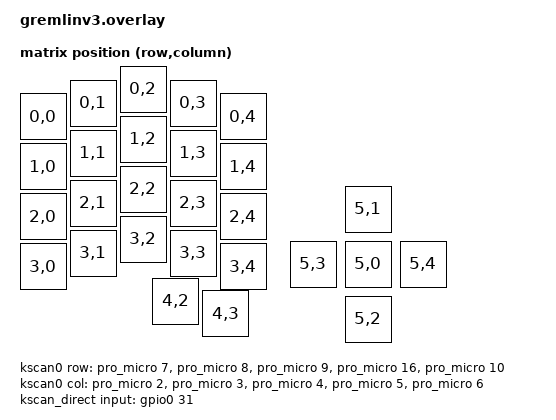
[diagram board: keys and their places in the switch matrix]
#include <dt-bindings/zmk/matrix_transform.h>
#include <dt-bindings/analog-stick/modes.h>
#include <dt-bindings/adc/adc.h>
#include <dt-bindings/pinctrl/nrf-pinctrl.h>
#include <physical_layouts.dtsi>

/*
 * Nordic SAADC CH[n].PSELP register values:
 * In nRF52840 SAADC hardware and nrfx HAL (nrf_saadc.h):
 *   0 = NC (Not Connected / Input Disabled)
 *   1 = AIN0 (P0.02 / Header Pin 18 / Silk 19 -> J2 Pin 1 JOY_X)
 *   2 = AIN1 (P0.03)
 *   3 = AIN2 (P0.04)
 *   4 = AIN3 (P0.05)
 *   5 = AIN4 (P0.28)
 *   6 = AIN5 (P0.29 / Header Pin 19 / Silk 20 -> J2 Pin 4 JOY_Y)
 *   7 = AIN6 (P0.30)
 *   8 = AIN7 (P0.31 / Header Pin 20 / Silk 21 -> J2 Pin 3 JOY_BTN)
 * Zephyr's adc_nrfx_saadc.c assigns positive_inputs directly to PSELP.
 */
#undef NRF_SAADC_AIN0
#define NRF_SAADC_AIN0 1
#undef NRF_SAADC_AIN5
#define NRF_SAADC_AIN5 6

/ {
    chosen {
        zmk,kscan = &kscan_composite;
        zmk,physical-layout = &physical_layout0;
        zephyr,display = &nice_view;
    };

    /* -------------------------------------------------------------------------
     * 1. KEY MATRIX (5 Cols x 5 Rows for Keys S1..S22)
     * Hardware: Diodes point from Col/Switch (Anode) to Row (Cathode)
     * Driving Cols HIGH and reading Rows with internal Pull-Down (col2row)
     * ------------------------------------------------------------------------- */
    kscan0: kscan_0 {
        compatible = "zmk,kscan-gpio-matrix";
        diode-direction = "col2row";
        wakeup-source;

        col-gpios
            = <&pro_micro 2 GPIO_ACTIVE_HIGH>  /* Col 0: P0.17 (Pin 5) */
            , <&pro_micro 3 GPIO_ACTIVE_HIGH>  /* Col 1: P0.20 (Pin 6) */
            , <&pro_micro 4 GPIO_ACTIVE_HIGH>  /* Col 2: P0.22 (Header Pin 7 / Silk 4 - native PCB routing) */
            , <&pro_micro 5 GPIO_ACTIVE_HIGH>  /* Col 3: P0.24 (Pin 8) */
            , <&pro_micro 6 GPIO_ACTIVE_HIGH>  /* Col 4: P1.00 (Pin 9) */
            ;

        row-gpios
            = <&pro_micro 7  (GPIO_ACTIVE_HIGH | GPIO_PULL_DOWN)> /* Row 0: P0.11 (Pin 10) */
            , <&pro_micro 8  (GPIO_ACTIVE_HIGH | GPIO_PULL_DOWN)> /* Row 1: P1.04 (Pin 11) */
            , <&pro_micro 9  (GPIO_ACTIVE_HIGH | GPIO_PULL_DOWN)> /* Row 2: P1.06 (Pin 12) */
            , <&pro_micro 16 (GPIO_ACTIVE_HIGH | GPIO_PULL_DOWN)> /* Row 3: P0.10 (Pin 14) */
            , <&pro_micro 10 (GPIO_ACTIVE_HIGH | GPIO_PULL_DOWN)> /* Row 4: P0.09 (Pin 13) */
            ;
    };

    /* -------------------------------------------------------------------------
     * 2. DIRECT GPIO BUTTON (Joy-Con Stick Push / L3 Click on J2 Pin 3)
     * Active-Low with internal pull-up (Joy-Con push switch connects to GND on J2 Pin 2)
     * ------------------------------------------------------------------------- */
    kscan_direct: kscan_direct {
        compatible = "zmk,kscan-gpio-direct";
        wakeup-source;
        input-gpios = <&gpio0 31 (GPIO_ACTIVE_LOW | GPIO_PULL_UP)>; /* P0.31 / Header Pin 20 / Silk 21 (J2 Pin 3) */
    };

    /* Composite kscan combining matrix keys and stick button */
    kscan_composite: kscan_composite {
        compatible = "zmk,kscan-composite";
        columns = <5>;
        rows = <6>;

        matrix {
            kscan = <&kscan0>;
        };

        direct {
            kscan = <&kscan_direct>;
            row-offset = <5>;
        };
    };

    /* -------------------------------------------------------------------------
     * 3. MATRIX TRANSFORM (27 Positions: S1..S22, L3 click, Stick Directions)
     * ------------------------------------------------------------------------- */
    default_transform: keymap_transform_0 {
        compatible = "zmk,matrix-transform";
        columns = <5>;
        rows = <6>;
        map = <
            RC(0,0) RC(0,1) RC(0,2) RC(0,3) RC(0,4) /* S1 - S5   (Row 0) */
            RC(1,0) RC(1,1) RC(1,2) RC(1,3) RC(1,4) /* S6 - S10  (Row 1) */
            RC(2,0) RC(2,1) RC(2,2) RC(2,3) RC(2,4) /* S11 - S15 (Row 2) */
            RC(3,0) RC(3,1) RC(3,2) RC(3,3) RC(3,4) /* S16 - S20 (Row 3) */
                    RC(4,2) RC(4,3)                 /* S21, S22   (Thumb) */
            RC(5,0)                                 /* Joy-Con Stick Click (L3) */
            RC(5,1) RC(5,2) RC(5,3) RC(5,4)         /* Virtual: Stick Up, Down, Left, Right */
        >;
    };

    /* -------------------------------------------------------------------------
     * 4. PHYSICAL LAYOUT FOR ZMK STUDIO (Live GUI key remapping)
     * ------------------------------------------------------------------------- */
    physical_layout0: physical_layout_0 {
        compatible = "zmk,physical-layout";
        display-name = "Gremlin v3";
        kscan = <&kscan_composite>;
        transform = <&default_transform>;
        keys
            = <&key_physical_attrs 100 100   0  55 0 0 0>  /* S1  */
            , <&key_physical_attrs 100 100 100  28 0 0 0>  /* S2  */
            , <&key_physical_attrs 100 100 200   0 0 0 0>  /* S3  */
            , <&key_physical_attrs 100 100 300  28 0 0 0>  /* S4  */
            , <&key_physical_attrs 100 100 400  55 0 0 0>  /* S5  */
            , <&key_physical_attrs 100 100   0 155 0 0 0>  /* S6  */
            , <&key_physical_attrs 100 100 100 128 0 0 0>  /* S7  */
            , <&key_physical_attrs 100 100 200 100 0 0 0>  /* S8  */
            , <&key_physical_attrs 100 100 300 128 0 0 0>  /* S9  */
            , <&key_physical_attrs 100 100 400 155 0 0 0>  /* S10 */
            , <&key_physical_attrs 100 100   0 255 0 0 0>  /* S11 */
            , <&key_physical_attrs 100 100 100 228 0 0 0>  /* S12 */
            , <&key_physical_attrs 100 100 200 200 0 0 0>  /* S13 */
            , <&key_physical_attrs 100 100 300 228 0 0 0>  /* S14 */
            , <&key_physical_attrs 100 100 400 255 0 0 0>  /* S15 */
            , <&key_physical_attrs 100 100   0 355 0 0 0>  /* S16 */
            , <&key_physical_attrs 100 100 100 328 0 0 0>  /* S17 */
            , <&key_physical_attrs 100 100 200 300 0 0 0>  /* S18 */
            , <&key_physical_attrs 100 100 300 328 0 0 0>  /* S19 */
            , <&key_physical_attrs 100 100 400 355 0 0 0>  /* S20 */
            , <&key_physical_attrs 100 100 265 424 0 0 0>  /* S21 (Thumb Left) */
            , <&key_physical_attrs 100 100 365 449 0 0 0>  /* S22 (Thumb Right) */
            , <&key_physical_attrs 100 100 650 350 0 0 0>  /* Stick Click (L3 Center) */
            , <&key_physical_attrs 100 100 650 240 0 0 0>  /* Stick Up */
            , <&key_physical_attrs 100 100 650 460 0 0 0>  /* Stick Down */
            , <&key_physical_attrs 100 100 540 350 0 0 0>  /* Stick Left */
            , <&key_physical_attrs 100 100 760 350 0 0 0>  /* Stick Right */
            ;
    };

    /* -------------------------------------------------------------------------
     * 5. ANALOG STICK DRIVER (wdtamagi/zmk-driver-analog-stick)
     * Calibrated to live 12-bit SAADC hardware readings in mounted keypad orientation:
     * - Driver X = &adc 1 (AIN5 / Header Pin 19): Left ~3217, Center ~1965, Right ~684 (invert-x)
     * - Driver Y = &adc 2 (AIN0 / Header Pin 18): Up ~301, Center ~1805, Down ~3246
     * ------------------------------------------------------------------------- */
    analog_stick0: analog_stick0 {
        compatible = "zmk,analog-stick";
        io-channels = <&adc 1>, <&adc 2>; /* X: Channel 1 (AIN5 / Pin 19), Y: Channel 2 (AIN0 / Pin 18); Ch 0 reserved for VDDH battery */
        invert-x;
        x-min = <760>;
        x-center = <1965>;
        x-max = <3140>;
        y-min = <390>;
        y-center = <1805>;
        y-max = <3160>;
        deadzone-percent = <20>;
        wait-period-idle = <100>;
        wait-period-active = <10>;
    };

    analog_stick_listener0: analog_stick_listener0 {
        compatible = "zmk,analog-stick-listener";
        device = <&analog_stick0>;

        /* Layer 0: Switch Mode (WASD / D-Pad emulation) */
        layer0 {
            layers = <0>;
            mode = <ANALOG_STICK_MODE_SWITCH>;
            switch-activation-point = <30>;
            switch-hysteresis = <6>;
            up-position = <23>;
            down-position = <24>;
            left-position = <25>;
            right-position = <26>;
        };

        /* Layer 1: Mouse Pointer Mode */
        layer1 {
            layers = <1>;
            mode = <ANALOG_STICK_MODE_MOUSE>;
            mouse-min-speed = <1>;
            mouse-max-speed = <20>;
        };

        /* Layer 2: Mouse Scroll Mode */
        layer2 {
            layers = <2>;
            mode = <ANALOG_STICK_MODE_SCROLL>;
        };
    };
};

/* -------------------------------------------------------------------------
 * 6. NRF52840 SAADC CONFIGURATION (Analog Inputs for Joy-Con Stick)
 * ------------------------------------------------------------------------- */
&adc {
    status = "okay";
    #address-cells = <1>;
    #size-cells = <0>;

    /* Channel 2: AIN0 (U1 Pin 18 / P0.02 -> Keypad Up/Down axis).
     * SAADC Channel 0 is left free for zmk,battery-nrf-vddh (VDDHDIV5). */
    channel@2 {
        reg = <2>;
        zephyr,gain = "ADC_GAIN_1_6";
        zephyr,reference = "ADC_REF_INTERNAL";
        zephyr,acquisition-time = <ADC_ACQ_TIME_DEFAULT>;
        zephyr,input-positive = <NRF_SAADC_AIN0>;
        zephyr,resolution = <12>;
    };

    /* Channel 1: AIN5 (U1 Pin 19 / P0.29 -> Keypad Left/Right axis) */
    channel@1 {
        reg = <1>;
        zephyr,gain = "ADC_GAIN_1_6";
        zephyr,reference = "ADC_REF_INTERNAL";
        zephyr,acquisition-time = <ADC_ACQ_TIME_DEFAULT>;
        zephyr,input-positive = <NRF_SAADC_AIN5>;
        zephyr,resolution = <12>;
    };
};

/* -------------------------------------------------------------------------
 * 7. NICE!VIEW DISPLAY SOLDER PADS (Sharp Memory LCD via SPI3 diagnostic)
 *
 * Dedicated Solder Pads (J3):
 * - Pad 1: CS   -> U1 Pin 1  (P0.06)
 * - Pad 2: SCK  -> U1 Pin 16 (P1.13)
 * - Pad 3: MOSI -> U1 Pin 15 (P1.11)
 * - Pad 4: 3.3V -> U1 Pin 21 (3.3V)
 * - Pad 5: GND  -> GND plane
 * ------------------------------------------------------------------------- */
&pinctrl {
    spi3_default: spi3_default {
        group1 {
            psels = <NRF_PSEL(SPIM_SCK, 1, 13)>,   /* SCK:  P1.13 (Header Pin 16 / J3 Pad 2) */
                    <NRF_PSEL(SPIM_MOSI, 1, 11)>;  /* MOSI: P1.11 (Header Pin 15 / J3 Pad 3) */
        };
    };

    spi3_sleep: spi3_sleep {
        group1 {
            psels = <NRF_PSEL(SPIM_SCK, 1, 13)>,
                    <NRF_PSEL(SPIM_MOSI, 1, 11)>;
            low-power-enable;
        };
    };
};

&spi3 {
    compatible = "nordic,nrf-spim";
    status = "okay";
    pinctrl-0 = <&spi3_default>;
    pinctrl-1 = <&spi3_sleep>;
    pinctrl-names = "default", "sleep";
    cs-gpios = <&gpio0 6 GPIO_ACTIVE_HIGH>; /* CS: P0.06 (Header Pin 1 / J3 Pad 1) */

    nice_view: ls0xx@0 {
        compatible = "sharp,ls0xx";
        reg = <0>;
        spi-max-frequency = <1000000>;
        width = <160>;
        height = <68>;
    };
};

/* Explicitly disable hardware UART0 to release P0.06 (Header Pin 1 / Silk 0) for DISP_CS */
&uart0 {
    status = "disabled";
};
